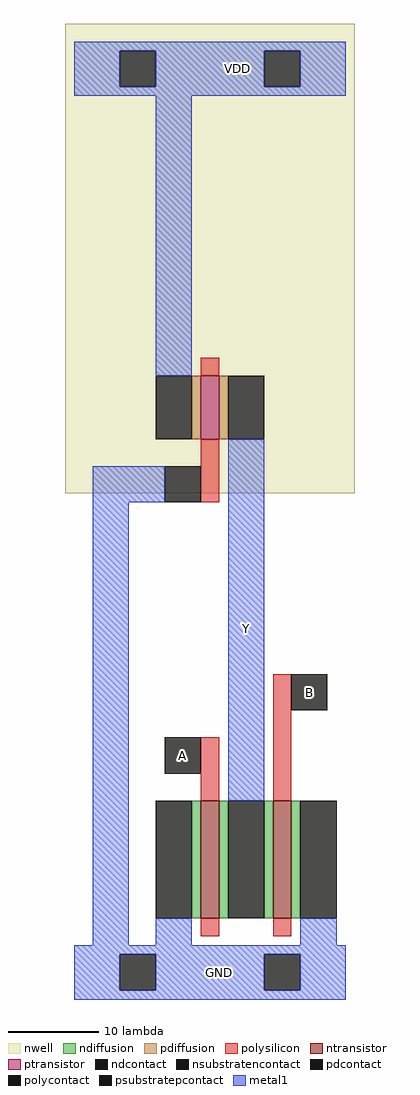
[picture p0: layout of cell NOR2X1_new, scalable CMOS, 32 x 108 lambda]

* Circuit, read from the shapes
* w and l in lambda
.subckt NOR2X1_new A B GND VDD Y
M1 Y A GND GND nfet w=13 l=2
M2 GND B Y GND nfet w=13 l=2
M3 Y GND VDD VDD pfet w=7 l=2
.ends

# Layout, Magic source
magic
tech scmos
<< nwell >>
rect -8 53 24 105
<< ntransistor >>
rect 7 6 9 19
rect 15 6 17 19
<< ptransistor >>
rect 7 59 9 66
<< ndiffusion >>
rect 6 6 7 19
rect 9 6 10 19
rect 14 6 15 19
rect 17 6 18 19
<< pdiffusion >>
rect 6 59 7 66
rect 9 59 10 66
<< ndcontact >>
rect 2 6 6 19
rect 10 6 14 19
rect 18 6 22 19
<< pdcontact >>
rect 2 59 6 66
rect 10 59 14 66
<< psubstratepcontact >>
rect -2 -2 2 2
rect 14 -2 18 2
<< nsubstratencontact >>
rect -2 98 2 102
rect 14 98 18 102
<< polysilicon >>
rect 7 66 9 68
rect 7 52 9 59
rect 7 19 9 26
rect 15 19 17 33
rect 7 4 9 6
rect 15 4 17 6
<< polycontact >>
rect 3 52 7 56
rect 3 22 7 26
rect 17 29 21 33
<< metal1 >>
rect -7 102 23 103
rect -7 98 -2 102
rect 2 98 14 102
rect 18 98 23 102
rect -7 97 23 98
rect 2 66 6 97
rect -5 52 3 56
rect -5 3 -1 52
rect 10 19 14 59
rect 2 3 6 6
rect 18 3 22 6
rect -7 2 23 3
rect -7 -2 -2 2
rect 2 -2 14 2
rect 18 -2 23 2
rect -7 -3 23 -2
<< labels >>
rlabel metal1 9 0 9 0 1 GND
rlabel metal1 11 100 11 100 5 VDD
rlabel metal1 12 38 12 38 1 Y
rlabel polycontact 5 24 5 24 1 A
rlabel polycontact 19 31 19 31 7 B
<< end >>
